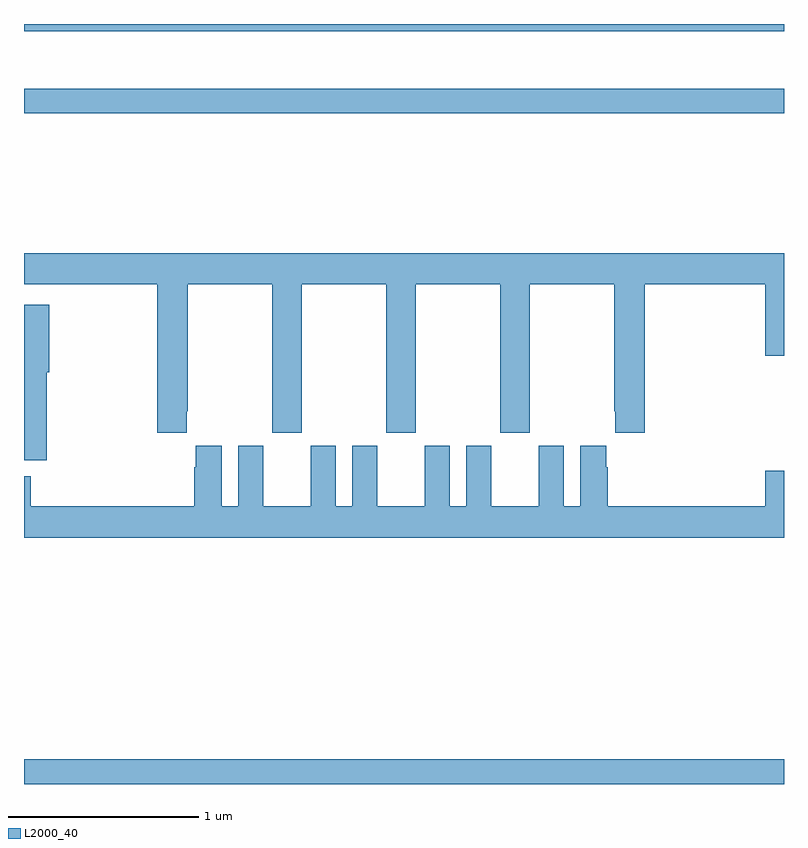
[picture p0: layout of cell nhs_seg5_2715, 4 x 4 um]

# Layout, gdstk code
import gdstk
lib = gdstk.Library(unit=1e-6, precision=1e-09)
def R(c, l, rs):  # rectangles x0, y0, x1, y1
    for r in rs: c.add(gdstk.rectangle(r[:2], r[2:], *l))
def P(c, l, *ps):  # polygons
    for p in ps: c.add(gdstk.Polygon(p, *l))
L2000_40 = (2000, 40)

nhs_seg5_2715 = lib.new_cell('nhs_seg5_2715')
R(nhs_seg5_2715, L2000_40, [(269,852.799,273,852.928), (269,856.33,273,856.459), (269,856.76,273,856.799)])
P(nhs_seg5_2715, L2000_40, [(269.857,854.761),(269.862,854.761),(269.862,855.428),(270.307,855.428),(270.307,854.649),(270.462,854.649),(270.462,855.428),(270.907,855.428),(270.907,854.649),(271.062,854.649),(271.062,855.428),(271.507,855.428),(271.507,854.649),(271.662,854.649),(271.662,855.428),(272.107,855.428),(272.107,854.761),(272.111,854.761),(272.111,854.649),(272.267,854.649),(272.267,855.428),(272.9,855.428),(272.9,855.054),(273,855.054),(273,855.592),(269,855.592),(269,855.428),(269.702,855.428),(269.702,854.649),(269.857,854.649)],
  [(269.119,854.966),(269.132,854.966),(269.132,855.322),(269,855.322),(269,854.504),(269.119,854.504)],
  [(273,854.449),(272.9,854.449),(272.9,854.26),(272.072,854.26),(272.072,854.465),(272.065,854.465),(272.065,854.578),(271.928,854.578),(271.928,854.26),(271.84,854.26),(271.84,854.578),(271.709,854.578),(271.709,854.26),(271.459,854.26),(271.459,854.578),(271.328,854.578),(271.328,854.26),(271.24,854.26),(271.24,854.578),(271.109,854.578),(271.109,854.26),(270.859,854.26),(270.859,854.578),(270.728,854.578),(270.728,854.26),(270.64,854.26),(270.64,854.578),(270.509,854.578),(270.509,854.26),(270.259,854.26),(270.259,854.578),(270.128,854.578),(270.128,854.26),(270.04,854.26),(270.04,854.578),(269.903,854.578),(269.903,854.465),(269.897,854.465),(269.897,854.26),(269.036,854.26),(269.036,854.419),(269,854.419),(269,854.096),(273,854.096)])

lib.write_gds('nhs_seg5_2715.gds')
